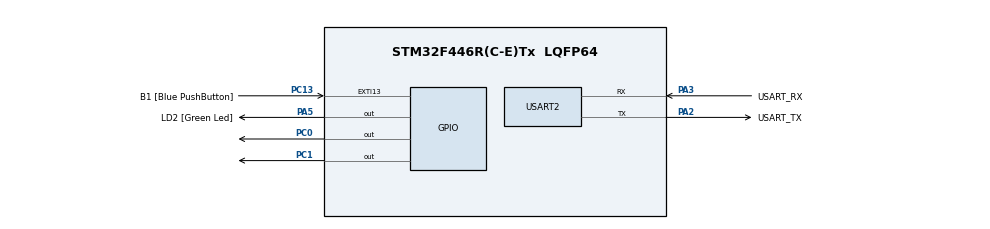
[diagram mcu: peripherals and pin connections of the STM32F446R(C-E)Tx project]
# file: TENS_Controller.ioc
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Mcu.Family=STM32F4
Mcu.Name=STM32F446R(C-E)Tx
Mcu.Package=LQFP64
NVIC.PriorityGroup=NVIC_PRIORITYGROUP_0
PA13.GPIO_Label=TMS
PA13.Mode=Serial_Wire
PA13.Signal=SYS_JTMS-SWDIO
PA14.GPIO_Label=TCK
PA14.Mode=Serial_Wire
PA14.Signal=SYS_JTCK-SWCLK
PA2.GPIO_Label=USART_TX
PA2.Mode=Asynchronous
PA2.Signal=USART2_TX
PA3.GPIO_Label=USART_RX
PA3.Mode=Asynchronous
PA3.Signal=USART2_RX
PA5.GPIO_Label=LD2 [Green Led]
PA5.Signal=GPIO_Output
PB3.GPIO_Label=SWO
PB3.Signal=SYS_JTDO-SWO
PC0.Signal=GPIO_Output
PC1.Signal=GPIO_Output
PC13.GPIO_Label=B1 [Blue PushButton]
PC13.GPIO_ModeDefaultEXTI=GPIO_MODE_IT_FALLING
PC13.Signal=GPXTI13
PC14-OSC32_IN.Mode=LSE-External-Oscillator
PC14-OSC32_IN.Signal=RCC_OSC32_IN
PC15-OSC32_OUT.Mode=LSE-External-Oscillator
PC15-OSC32_OUT.Signal=RCC_OSC32_OUT
PH0-OSC_IN.Mode=HSE-External-Oscillator
PH0-OSC_IN.Signal=RCC_OSC_IN
PH1-OSC_OUT.Mode=HSE-External-Oscillator
PH1-OSC_OUT.Signal=RCC_OSC_OUT
ProjectManager.HeapSize=0x200
ProjectManager.StackSize=0x400
ProjectManager.TargetToolchain=STM32CubeIDE
RCC.48MHZClocksFreq_Value=84000000
RCC.AHBFreq_Value=84000000
RCC.APB1CLKDivider=RCC_HCLK_DIV2
RCC.APB1Freq_Value=42000000
RCC.APB1TimFreq_Value=84000000
RCC.APB2Freq_Value=84000000
RCC.APB2TimFreq_Value=84000000
RCC.CortexFreq_Value=84000000
RCC.FLatency-AdvancedSettings=FLASH_LATENCY_2
RCC.HCLKFreq_Value=84000000
RCC.HSE_VALUE=8000000
RCC.HSI_VALUE=16000000
RCC.PLLN=336
RCC.PLLP=RCC_PLLP_DIV4
RCC.SYSCLKFreq_VALUE=84000000
RCC.SYSCLKSource=RCC_SYSCLKSOURCE_PLLCLK
RCC.USBFreq_Value=168000000
RCC.VCOOutputFreq_Value=336000000
USART2.VirtualMode=VM_ASYNC
board=NUCLEO-F446RE

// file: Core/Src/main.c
/* USER CODE BEGIN Header */
/**
  ******************************************************************************
  * @file           : main.c
  * @brief          : Main program body
  ******************************************************************************
  * @attention
  *
  * Copyright (c) 2026 STMicroelectronics.
  * All rights reserved.
  *
  * This software is licensed under terms that can be found in the LICENSE file
  * in the root directory of this software component.
  * If no LICENSE file comes with this software, it is provided AS-IS.
  *
  ******************************************************************************
  */
/* USER CODE END Header */
#include "main.h"

/* USER CODE BEGIN Includes */
#include <stdbool.h>
#include <stdio.h>
/* USER CODE END Includes */

UART_HandleTypeDef huart2;

void SystemClock_Config(void);
static void MX_USART2_UART_Init(void);
/* USER CODE BEGIN PFP */
static void TIM1_Init(void);
static void TIM2_Init(void);
static void GPIO_Init(void);
static void ADC1_Init(void);
/* USER CODE END PFP */

/* USER CODE BEGIN 0 */

volatile uint8_t freq;
volatile uint32_t ARR_VAL;
volatile uint8_t ARR_DIV;

volatile float next_scale_val;
volatile bool update_pending;

void set_phase(float scale, uint8_t dead_time){

    uint16_t phase_duration = (ARR_VAL-scale) - dead_time;//the scale_val in this equation cotrolls overall stimulation (ARR/2 is the max value)

    //output registers
    TIM1->CCR1 = ARR_VAL - (phase_duration/2); //start +phase
    TIM1->CCR2 = (phase_duration/2); //end +phase
    TIM1->CCR3 = (phase_duration/2) + dead_time; //start -phase
    TIM1->CCR4 = phase_duration + (phase_duration/2) + dead_time; //end -phase
}

/* USER CODE END 0 */

int main(void)
{

  /* MCU Configuration--------------------------------------------------------*/

  /* Reset of all peripherals, Initializes the Flash interface and the Systick. */

  /* Configure the system clock */
  SystemClock_Config();

  /* Initialize all configured peripherals */
  MX_USART2_UART_Init();
  /* USER CODE BEGIN 2 */

  TIM1_Init();
  TIM2_Init();

  GPIO_Init();

  ADC1_Init();

  /* USER CODE END 2 */

  /* Infinite loop */
  /* USER CODE BEGIN WHILE */

  float scale_val = 100;

  int data;//adc input data
  float V;//volts
  float mA;//milliamps

  float target_mA = 25.0;
  float error;
  float pid_p;
  float pid_i = 0.0;
  float pid_d;

  float prev_error;

  float max_step = 10.0f;

  uint32_t last = TIM2->CNT;
  uint32_t now;
  uint32_t diff;
  float dt;

  //not fully tuned yet
  float P = 0.5;
  float I = 0.0;
  float D = 0.0;

  float correction_val;

  while (1)
  {

	  //ADC reading and comversions
	  if (ADC1->SR & ADC_SR_JEOC) {
	      ADC1->SR &= ~ADC_SR_JEOC;

	      data = ADC1->JDR1;

	      V = (float)data * 3.3f / 4095.0f;
	      mA = V / 100 * 1000;

		  //delta time calculations
		  now = TIM2->CNT;

		  diff = (now >= last) ? (now - last)
		                       : (0xFFFFFFFF - last + now + 1);

		  dt = (float)diff / 1000000; // seconds (if 1 MHz timer)
		  last = now;

		  //pid error correction
		  error = target_mA - mA;

		  pid_p = error * P;

		  pid_i = ((0.25) * pid_i + error * dt) * I;//will "leak" to 0 overtime if error is small (requires extra tuning)

		  pid_d = ((error - prev_error) / dt) * D;

		  correction_val = pid_p + pid_i + pid_d;

		  if (correction_val > max_step) correction_val = max_step;
		  if (correction_val < -max_step) correction_val = -max_step;

		  scale_val += correction_val;

		  if(scale_val < 0.0){
			  scale_val = 0.0;
		  }

		  if(scale_val > (float)TIM1->ARR/2){
			  scale_val = (float)TIM1->ARR/2;
		  }

		  next_scale_val = scale_val;
		  update_pending = true;

		  prev_error = error;

	  }

    /* USER CODE END WHILE */
  }

}

void SystemClock_Config(void)
  {
      RCC->CR |= RCC_CR_HSION;
      while(!(RCC->CR & RCC_CR_HSIRDY));

      RCC->PLLCFGR =
          (16 << RCC_PLLCFGR_PLLM_Pos) |
          (336 << RCC_PLLCFGR_PLLN_Pos) |
          (1 << RCC_PLLCFGR_PLLP_Pos) |     // /4
          RCC_PLLCFGR_PLLSRC_HSI |
          (2 << RCC_PLLCFGR_PLLQ_Pos);

      RCC->CR |= RCC_CR_PLLON;
      while(!(RCC->CR & RCC_CR_PLLRDY));

      FLASH->ACR |= FLASH_ACR_LATENCY_2WS;

      RCC->CFGR |= RCC_CFGR_PPRE1_DIV2;
      RCC->CFGR |= RCC_CFGR_SW_PLL;

      while((RCC->CFGR & RCC_CFGR_SWS) != RCC_CFGR_SWS_PLL);
  }
static void MX_USART2_UART_Init(void)
{

  huart2.Instance = USART2;
  huart2.Init.BaudRate = 115200;
  huart2.Init.WordLength = UART_WORDLENGTH_8B;
  huart2.Init.StopBits = UART_STOPBITS_1;
  huart2.Init.Parity = UART_PARITY_NONE;
  huart2.Init.Mode = UART_MODE_TX_RX;
  huart2.Init.HwFlowCtl = UART_HWCONTROL_NONE;
  huart2.Init.OverSampling = UART_OVERSAMPLING_16;
  if (HAL_UART_Init(&huart2) != HAL_OK)
  {
    Error_Handler();
  }

}

  /* USER CODE BEGIN MX_GPIO_Init_2 */

static void ADC1_Init(void){

	RCC->APB2ENR |= RCC_APB2ENR_ADC1EN;

	ADC1->CR1 &= ~ADC_CR1_RES;//12 bit resolution

	ADC1->JSQR &= ~ADC_JSQR_JL;

	ADC1->JSQR = (1 << ADC_JSQR_JSQ1_Pos); // Channel 1

	ADC1->SMPR2 &= ~ADC_SMPR2_SMP1;
	ADC1->SMPR2 |= ADC_SMPR2_SMP1_0;

	ADC1->CR2 |= ADC_CR2_JEXTEN_0; // rising edge

	ADC1->CR2 &= ~ADC_CR2_JEXTSEL;
	ADC1->CR2 |= ADC_CR2_JEXTSEL_0;//TIM1_TRGO event

	ADC1->CR2 |= ADC_CR2_ADON;

}

static void GPIO_Init(void){

	//clock initializations
	RCC->AHB1ENR |= RCC_AHB1ENR_GPIOAEN;
	RCC->AHB1ENR |= RCC_AHB1ENR_GPIOCEN;

	//configre pin as alternate function
	//PA7
	GPIOA->MODER |= GPIO_MODER_MODER7_0;
	GPIOA->MODER &= ~GPIO_MODER_MODER7_1;
	//PA8
	GPIOA->MODER |= GPIO_MODER_MODER8_0;
	GPIOA->MODER &= ~GPIO_MODER_MODER8_1;

	//PA0 analog input
	GPIOA->MODER |= GPIO_MODER_MODER0_0;
	GPIOA->MODER |= GPIO_MODER_MODER0_1;

	//Set output type as push-pull
	GPIOA->OTYPER &= ~(GPIO_OTYPER_OT7|GPIO_OTYPER_OT8); //PA7 AND PA8

	//no pull up or pull down
	GPIOA->PUPDR &= ~(GPIO_PUPDR_PUPD7|GPIO_PUPDR_PUPD8|GPIO_PUPDR_PUPD0);

	//output speed max
	GPIOA->OSPEEDR |= GPIO_OSPEEDR_OSPEED7|GPIO_OSPEEDR_OSPEED8;

}

  /* USER CODE END MX_GPIO_Init_2 */

/* USER CODE BEGIN 4 */

static void TIM1_Init(void){

	RCC->APB2ENR |= RCC_APB2ENR_TIM1EN;
	(void)RCC->APB2ENR;

    TIM1->PSC = 8399;       // Prescaler

	freq = 50;

	ARR_VAL  = (84000000 / (TIM1->PSC + 1) / freq) - 1;

    //TIM1->CR1 |= TIM_CR1_ARPE;       //Auto reload preload
    TIM1->ARR = ARR_VAL;

    //phase_duration cant be grater than (ARR_VAL/2)
    //phase duration = 25% by default (not accounting for deadtime)

    set_phase(2, 15);//divisor, deadtime

    TIM1->EGR |= TIM_EGR_UG; // Generate an update event to load registers

    TIM1->CR2 &= ~TIM_CR2_MMS;//CLEAR
    TIM1->CR2 |= TIM_CR2_MMS_1;//triggers TRGO on update event

    //enable preload
    TIM1->CCMR1 |= TIM_CCMR1_OC1PE;
    TIM1->CCMR1 |= TIM_CCMR1_OC2PE;
    TIM1->CCMR2 |= TIM_CCMR2_OC3PE;
    TIM1->CCMR2 |= TIM_CCMR2_OC4PE;

    //enabable interrupts
    TIM1->DIER |= TIM_DIER_CC1IE | TIM_DIER_CC2IE | TIM_DIER_CC3IE | TIM_DIER_CC4IE;

    TIM1->DIER |= TIM_DIER_UIE;

    //start tieme
	TIM1->CR1 |= TIM_CR1_CEN;

	NVIC_SetPriority(TIM1_CC_IRQn, 0);
	NVIC_EnableIRQ(TIM1_CC_IRQn);
    NVIC_EnableIRQ(TIM1_UP_TIM10_IRQn);

}

void TIM1_CC_IRQHandler(void)
{
    if (TIM1->SR & TIM_SR_CC1IF){
        TIM1->SR &= ~TIM_SR_CC1IF;  // clear flag

        GPIOA->ODR |= GPIO_PIN_7;

    }

    if (TIM1->SR & TIM_SR_CC2IF){
        TIM1->SR &= ~TIM_SR_CC2IF;

        GPIOA->ODR &= ~GPIO_PIN_7;

    }

    if (TIM1->SR & TIM_SR_CC3IF){
            TIM1->SR &= ~TIM_SR_CC3IF;

            GPIOA->ODR |= GPIO_PIN_8;

    }

    if (TIM1->SR & TIM_SR_CC4IF){
                TIM1->SR &= ~TIM_SR_CC4IF;

                GPIOA->ODR &= ~GPIO_PIN_8;

    }
}

void TIM1_UP_TIM10_IRQHandler(void)
{
    if (TIM1->SR & TIM_SR_UIF) {
        TIM1->SR &= ~TIM_SR_UIF;

        if (update_pending) {
            set_phase(next_scale_val, 15);
            update_pending = false;
        }
    }
}

static void TIM2_Init(void){

	RCC->APB1ENR |= RCC_APB1ENR_TIM2EN;

	(void)RCC->APB1ENR;//confirm the write

	TIM2->PSC = 83;    // divide 84MHz → 1MHz
	TIM2->ARR = 0xFFFFFFFF;//max value

    TIM2->EGR |= TIM_EGR_UG;

	//TIM2->DIER |= TIM_DIER_UIE;
	TIM2->CR1 |= TIM_CR1_CEN;

	//NVIC_SetPriority(TIM2_IRQn, 0);
	//NVIC_EnableIRQ(TIM2_IRQn);
}

/*
bool MAIN_OUTPUT = 1;

void TIM2_IRQHandler(void){
    if (TIM2->SR & TIM_SR_UIF){
        TIM2->SR &= ~TIM_SR_UIF;

        if(MAIN_OUTPUT){
        	TIM1->BDTR &= ~TIM_BDTR_MOE;
        	MAIN_OUTPUT = 0;
        }else{
        	TIM1->BDTR |= TIM_BDTR_MOE;
        	MAIN_OUTPUT = 1;
        }

    }
}

*/

/* USER CODE END 4 */

void Error_Handler(void)
{
  __disable_irq();
  while (1)
  {
  }
}
